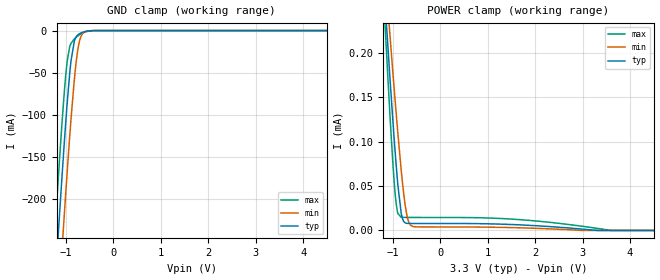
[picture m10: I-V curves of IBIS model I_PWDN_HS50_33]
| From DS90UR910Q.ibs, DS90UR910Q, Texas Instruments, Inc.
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|   Model
[Model]   I_PWDN_HS50_33
Model_type   Input
Vinl = 0.8
Vinh = 2.2
|   typ   min   max
C_comp   0.431pF   0.414pF   0.452pF
[Voltage Range]   3.3   3   3.6
[Temperature Range]   25   105   -40
[Power Clamp Reference]   3.3   3   3.6
[GND Clamp Reference]   0   0   0
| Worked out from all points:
|   GND clamp passes 1 mA (typ) near -0.58 V on its own axis
|   POWER clamp passes 1 mA (typ) near -2.01 V on its own axis
[GND Clamp]
|   Voltage   I(typ)   I(min)   I(max)
-3.3V     -2.295A    -2.37A     -2.24A
-1.261V   -330.1mA   -419.4mA   -263.4mA
-1.221V   -294mA     -383.1mA   -227.4mA
-1.162V   -240.6mA   -329.3mA   -174.6mA
-1.082V   -171.7mA   -258.9mA   -108.1mA
-1.033V   -130.7mA   -216.2mA   -70.93mA
-983.4mV  -92.32mA   -174.7mA   -40.6mA
-894.3mV  -36.02mA   -105mA     -15.08mA
-825mV    -12.65mA   -58.6mA    -9.948mA
-775.5mV  -6.601mA   -32.63mA   -7.482mA
-676.5mV  -2.674mA   -5.991mA   -3.717mA
6.59V     0A         0A         0A
[POWER Clamp]
|   Voltage   I(typ)   I(min)   I(max)
-3.3V     2.169mA    1.898mA    2.578mA
-1.191V   278.4uA    310.8uA    258uA
-1.132V   228.7uA    268.6uA    197.7uA
-1.073V   180.1uA    227uA      139.8uA
-963.6mV  96.35uA    153.2uA    48.42uA
-904.2mV  56.6uA     115uA      21.08uA
-825mV    19.51uA    68.2uA     14.84uA
-735.9mV  8.497uA    26.81uA    14.67uA
-676.5mV  7.948uA    11.17uA    14.66uA
-577.5mV  7.884uA    4.431uA    14.65uA
3.61V     0A         0A         0A
6.59V     0A         0A         0A
